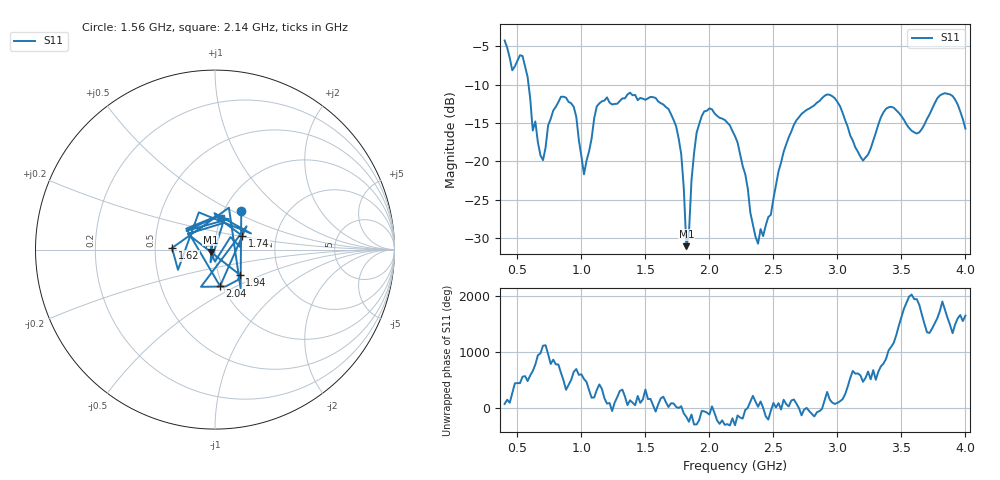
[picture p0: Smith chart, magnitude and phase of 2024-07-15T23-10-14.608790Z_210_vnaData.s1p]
!Created with skrf (http://scikit-rf.org).
# Hz S RI R 50.0
!freq ReS11 ImS11
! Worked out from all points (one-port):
!   181 points, 400 MHz to 4 GHz, reference 50 ohm
!   lowest |S11| = -31.1 dB at 1.82 GHz (marker M1), VSWR 1.06, Z = 47.6 - j1.24 ohm
!   |S11| at or under -10 dB: 587.1 MHz to end of sweep
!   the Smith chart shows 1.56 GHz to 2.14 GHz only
!   S11 on the Smith chart (normalised r, x): 1.56 GHz: 1.20, +0.56; 1.62 GHz: 0.61, +0.01; 1.74 GHz: 1.34, +0.21; 1.94 GHz: 1.26, -0.37; 2.04 GHz: 0.97, -0.41; 2.14 GHz: 1.01, +0.37
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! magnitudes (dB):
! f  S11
! 400 MHz  -4.2
! 460 MHz  -8.1
! 540 MHz  -6.2
! 700 MHz  -19.8
! 860 MHz  -11.6
! 940 MHz  -12.9
! 1.02 GHz  -21.7
! 1.12 GHz  -12.8
! 1.3 GHz  -12.1
! 1.56 GHz  -11.6
! 1.62 GHz  -12.4
! 1.74 GHz  -15.4
! 1.76 GHz  -17.0
! 1.82 GHz  -31.1
! 1.88 GHz  -19.0
! 1.94 GHz  -14.1
! 2.04 GHz  -13.7
! 2.14 GHz  -14.9
! 2.2 GHz  -16.7
! 2.38 GHz  -30.7
! 2.66 GHz  -15.2
! 2.94 GHz  -11.3
! 3.1 GHz  -16.6
! 3.2 GHz  -19.9
! 3.38 GHz  -13.1
! 3.56 GHz  -15.6
! 3.84 GHz  -11.1
! 4 GHz  -15.7
